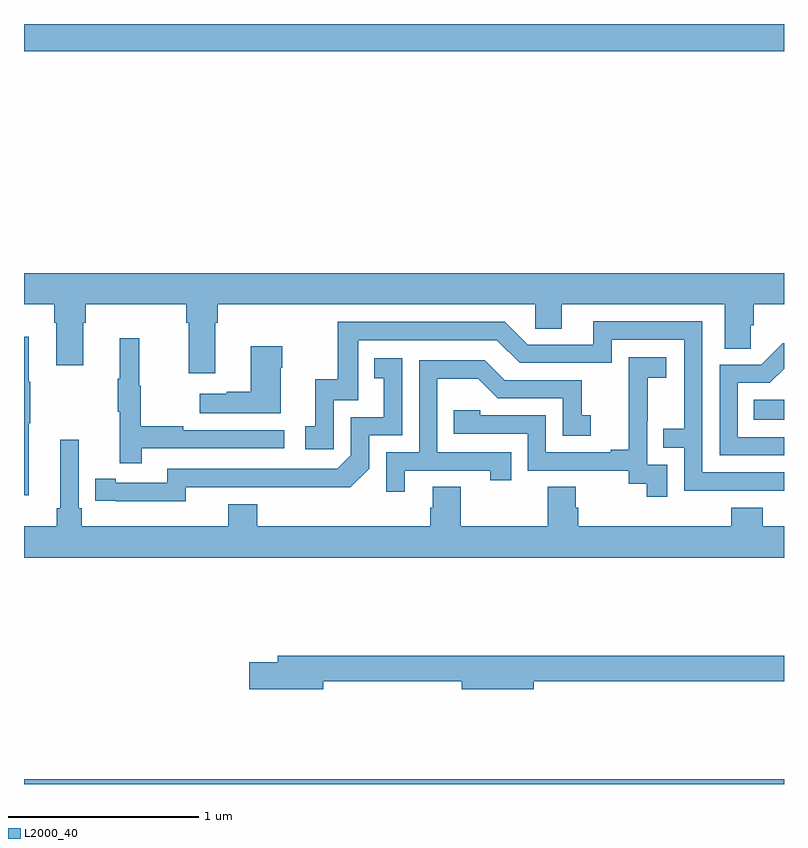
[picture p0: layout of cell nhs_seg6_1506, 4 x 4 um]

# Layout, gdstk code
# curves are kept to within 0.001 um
import gdstk
lib = gdstk.Library(unit=1e-6, precision=1e-09)
def R(c, l, rs):  # rectangles x0, y0, x1, y1
    for r in rs: c.add(gdstk.rectangle(r[:2], r[2:], *l))
def P(c, l, *ps):  # polygons
    for p in ps: c.add(gdstk.Polygon(p, *l))
L2000_40 = (2000, 40)

nhs_seg6_1506 = lib.new_cell('nhs_seg6_1506')
R(nhs_seg6_1506, L2000_40, [(203,923.5,207,923.524), (206.842,925.418,207,925.522), (203,927.356,207,927.5)])
P(nhs_seg6_1506, L2000_40, [(204.007,925.928),(204.02,925.928),(204.02,926.024),(205.692,926.024),(205.692,925.897),(205.831,925.897),(205.831,926.024),(206.687,926.024),(206.687,925.792),(206.826,925.792),(206.826,925.915),(206.84,925.915),(206.84,926.024),(207,926.024),(207,926.188),(203,926.188),(203,926.024),(203.159,926.024),(203.159,925.928),(203.171,925.928),(203.171,925.704),(203.311,925.704),(203.311,925.928),(203.324,925.928),(203.324,926.024),(203.855,926.024),(203.855,925.928),(203.867,925.928),(203.867,925.662),(204.007,925.662)],
  [(207,925.14),(206.571,925.14),(206.571,925.935),(205.997,925.935),(205.997,925.812),(205.65,925.812),(205.53,925.932),(204.651,925.932),(204.651,925.63),(204.533,925.63),(204.533,925.383),(204.48,925.383),(204.48,925.263),(204.63,925.263),(204.63,925.521),(204.759,925.521),(204.759,925.836),(205.488,925.836),(205.608,925.716),(206.094,925.716),(206.094,925.839),(206.475,925.839),(206.475,925.37),(206.365,925.37),(206.365,925.269),(206.475,925.269),(206.475,925.044),(207,925.043)],
  [(203.026,925.399),(203.034,925.399),(203.034,925.616),(203.026,925.616),(203.026,925.855),(203,925.855),(203,925.02),(203.026,925.02)],
  [(203.621,925.266),(204.37,925.266),(204.37,925.362),(203.837,925.362),(203.837,925.382),(203.614,925.382),(203.614,925.596),(203.606,925.596),(203.606,925.846),(203.504,925.846),(203.504,925.633),(203.493,925.633),(203.493,925.459),(203.504,925.459),(203.504,925.188),(203.621,925.188)],
  [(207,925.326),(206.757,925.326),(206.757,925.611),(206.926,925.611),(207,925.685),(207,925.82),(206.993,925.82),(206.88,925.707),(206.661,925.707),(206.661,925.23),(207,925.23)],
  [(204.352,925.691),(204.36,925.691),(204.36,925.804),(204.194,925.804),(204.194,925.565),(204.068,925.565),(204.068,925.555),(203.925,925.555),(203.925,925.451),(204.352,925.451)],
  [(206.385,925.179),(206.28,925.179),(206.28,925.409),(206.282,925.409),(206.282,925.637),(206.38,925.637),(206.38,925.747),(206.182,925.747),(206.182,925.541),(206.183,925.541),(206.183,925.258),(206.087,925.258),(206.087,925.245),(205.746,925.245),(205.746,925.44),(205.401,925.44),(205.401,925.467),(205.261,925.467),(205.261,925.344),(205.65,925.344),(205.65,925.149),(206.184,925.149),(206.184,925.081),(206.277,925.081),(206.277,925.011),(206.385,925.011)],
  [(203.85,925.062),(204.718,925.061),(204.816,925.158),(204.816,925.335),(204.99,925.335),(204.99,925.741),(204.844,925.741),(204.844,925.635),(204.893,925.635),(204.893,925.431),(204.72,925.431),(204.72,925.23),(204.648,925.158),(203.754,925.158),(203.754,925.086),(203.482,925.086),(203.482,925.106),(203.374,925.106),(203.374,924.99),(203.85,924.989)],
  [(205.003,925.149),(205.454,925.149),(205.454,925.098),(205.565,925.098),(205.565,925.245),(205.176,925.245),(205.176,925.634),(205.39,925.634),(205.494,925.53),(205.836,925.53),(205.836,925.332),(205.984,925.332),(205.984,925.441),(205.935,925.441),(205.935,925.626),(205.531,925.626),(205.426,925.731),(205.08,925.731),(205.08,925.245),(204.906,925.245),(204.906,925.038),(205.003,925.038)],
  [(207,924.856),(206.888,924.856),(206.888,924.955),(206.723,924.955),(206.723,924.856),(205.916,924.856),(205.916,924.954),(205.903,924.954),(205.903,925.064),(205.756,925.064),(205.756,924.856),(205.299,924.856),(205.299,925.064),(205.151,925.064),(205.151,924.954),(205.139,924.954),(205.139,924.856),(204.227,924.856),(204.227,924.973),(204.074,924.973),(204.074,924.856),(203.303,924.856),(203.303,924.952),(203.289,924.952),(203.289,925.312),(203.192,925.312),(203.192,924.952),(203.173,924.952),(203.173,924.856),(203,924.856),(203,924.692),(207,924.692)],
  [(204.574,924.04),(205.304,924.04),(205.304,923.998),(205.684,923.998),(205.684,924.04),(207,924.04),(207,924.176),(204.335,924.176),(204.335,924.14),(204.186,924.14),(204.186,923.998),(204.574,923.998)])

lib.write_gds('nhs_seg6_1506.gds')
